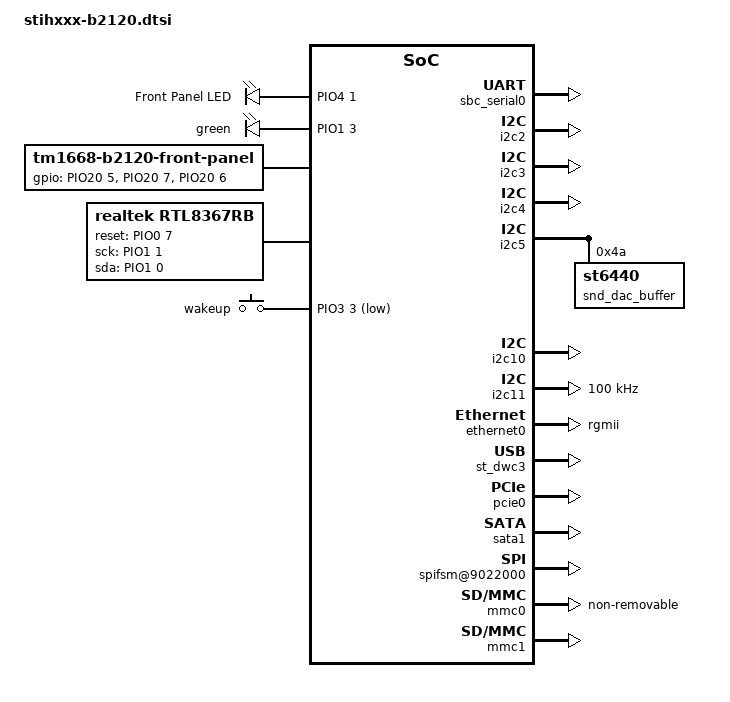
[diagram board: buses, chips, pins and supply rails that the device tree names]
/*
 * Copyright (C) 2014 STMicroelectronics (R&D) Limited.
 * Author: Giuseppe Cavallaro <peppe.cavallaro@st.com>
 *
 * This program is free software; you can redistribute it and/or modify
 * it under the terms of the GNU General Public License version 2 as
 * published by the Free Software Foundation.
 */
/ {
	chosen {
		bootargs = "console=ttyAS0,115200";
		linux,stdout-path = &sbc_serial0;
	};

	aliases {
		ttyAS0 = &sbc_serial0;
		ethernet0 = &ethernet0;
	};

	sound {
		compatible = "st,snd-soc-sti";
		status = "okay";
		st,card-name = "sti audio card";

		st,asoc-platform = <&sti_asoc_platform>;
		st,backend-name  = "HDMI_out", "PCM_out",
				   "Analog_out", "spdif",
				   "PCM_in", "HDMI_in";
		st,backend-cpu-dai = <&snd_uni_player0 &snd_uni_player1
				      &snd_uni_player2 &snd_uni_player3
				      &snd_uni_reader0 &snd_uni_reader1 >;
		st,backend-codec = <&sti_sasg_codec &sti_sasg_codec
				    &sti_sasg_codec &sti_sasg_codec
				    &sti_sasg_codec &sti_sasg_codec>;
		st,backend-codec-dai = "sas-dai-dummy", "sas-dai-dummy",
				       "sas-dai-dac", "sas-dai-spdif-out",
				       "sas-dai-dummy","sas-dai-dummy";
	};

	soc {
		sbc_serial0: serial@9530000 {
			status = "okay";
		};

		leds {
			compatible = "gpio-leds";
			red {
				#gpio-cells = <2>;
				label = "Front Panel LED";
				gpios = <&PIO4 1 0>;
				linux,default-trigger = "heartbeat";
			};
			green {
				#gpio-cells = <2>;
				gpios = <&PIO1 3 0>;
				default-state = "off";
			};
		};

		front-panel {
			compatible = "tm1668-b2120-front-panel";
			gpios = <&PIO20 5 0>, /* dio */
				<&PIO20 7 0>, /* sclk */
				<&PIO20 6 0>; /* stb */
		};

		rc: rc@09518000 {
			status = "okay";
		};

		/* NIM-A */
		i2c2: i2c@9842000 {
			status = "okay";
		};

		/* NIM-B */
		i2c3: i2c@9843000 {
			status = "okay";
		};

		/* SSC4 to PCIe connector */
		i2c4: i2c@9844000 {
			status = "okay";
		};

		/* SSC5 to STV6440,  PCIe connector, I2C Eeprom */
		i2c5: i2c@9845000 {
			status = "okay";
			#address-cells = <1>;
			#size-cells = <0>;

			snd_dac_buffer@4a {
				compatible = "st6440";
				reg = <0x4a>;
				st,source-bus-id = <&snd_uni_player2>;
				st,buffer-gain = <2>;
			};
		};

		/* SSC10 to STV0368 */
		i2c10: i2c@9540000 {
			status = "okay";
		};

		/* SSC11 to HDMI */
		i2c11: i2c@9541000 {
			status = "okay";
			/* HDMI V1.3a supports Standard mode only */
			clock-frequency = <100000>;
			st,i2c-min-scl-pulse-width-us = <0>;
			st,i2c-min-sda-pulse-width-us = <1>;
		};

		lpm:stm-lpm@9400000 {
			status = "okay";
			gpios = <&PIO3 2 0>;
			st,lmi-ret-gpio = <&PIO5 2 0>;

			st_wakeup_pin.ext_it {
				compatible = "st,wakeup-pins";
				status = "disabled";
				pinctrl-names = "default";
				pinctrl-0 = <&pinctrl_wk_pin>;
				wkpin@0 {
					interrupts = <GIC_SPI 184 IRQ_TYPE_EDGE_RISING>;
					label = "ext_it_wakeup";
					st,pio_use = <EXT_IT_WAKEUP_MODE>;
					st,ext_it_num = <2>;
				};
			};

			st_wakeup_pin.pio {
				compatible = "st,wakeup-pins";
				status = "disabled";
				wkpin@0 {
					label = "pio_wakeup";
					gpios = <&PIO3 3 0>;
					st,pio_use = <PIO_WAKEUP_MODE>;
					st,pio_dir = <GPIO_AS_INPUT>;
					st,int_enabled;
				};
			};

			st_wakeup_pin.pio_polling {
				compatible = "st,wakeup-pins";
				status = "disabled";
				wkpin@0 {
					label = "pio_polling_wakeup";
					gpios = <&PIO3 3 0>;
					st,pio_use = <PIO_WAKEUP_MODE>;
					st,pio_dir = <GPIO_AS_INPUT>;
					st,pio_level = <GPIO_ACTIVE_LOW>;
				};
			};

		};

		ethernet0: dwmac@9630000 {
			st,tx-retime-src = "clkgen";
			status = "okay";
			phy-mode = "rgmii";
			fixed-link = <1 1000 0 0>;
			snps,phy-addr = <0x1>;
		};

		realtek: rtl8367rb {
			compatible = "realtek,rtl8367rb";
			status = "okay";

			gpio-reset = <&PIO0 7 0>;
			gpio-sck = <&PIO1 1 0>;
			gpio-sda = <&PIO1 0 0>;

			rtl8367rb,extif1;
			rtl8367rb,extif1-mode = <1>;	// RGMII
			rtl8367rb,extif1-txdelay = <0>;
			rtl8367rb,extif1-rxdelay = <1>;
			rtl8367rb,extif1-force_mode = <1>;
			rtl8367rb,extif1-txpause = <2>;
			rtl8367rb,extif1-rxpause = <2>;
			rtl8367rb,extif1-link = <1>;
			rtl8367rb,extif1-duplex = <1>;
			rtl8367rb,extif1-speed = <2>; // Giga speed

			rtl8367rb,extif2;
			rtl8367rb,extif2-mode = <1>;	// RGMII
			rtl8367rb,extif2-txdelay = <1>;
			rtl8367rb,extif2-rxdelay = <1>;
			rtl8367rb,extif2-force_mode = <1>;
			rtl8367rb,extif2-txpause = <1>;
			rtl8367rb,extif2-rxpause = <1>;
			rtl8367rb,extif2-link = <1>;
			rtl8367rb,extif2-duplex = <1>;
			rtl8367rb,extif2-speed = <2>; // Giga speed
		};

		st_dwc3: dwc3@8f94000 {
			status = "okay";
		};

                miphy28lp_phy0: miphy28lp@0 {
                        status = "okay";
                };

		miphy28lp_phy1: miphy28lp@1 {
			/* SATA via B2136 MiniPCIe to eSATA/SATA board */
			st,sata_gen	= "gen3";
			status = "okay";
		};

		pcie0: pcie@9b00000 {
			status = "okay";
		};

		sata1: sata@9b28000 {
			status = "okay";
		};

		/* Uniperipheral */
		snd_uni_player0: snd-uni-player@0 {
			status = "okay";
		};

		snd_uni_player1: snd-uni-player@1 {
			status = "okay";
		};

		snd_uni_player2: snd-uni-player@2 {
			status = "okay";
		};

		snd_uni_player3: snd-uni-player@3 {
			status = "okay";
		};

		snd_uni_reader0: snd-uni-reader@0 {
			status = "okay";
		};

		snd_uni_reader1: snd-uni-reader@1 {
			status = "okay";
		};

		gpio_keys {
			status = "okay";
			compatible = "gpio-keys";
			#address-cells = <1>;
			#size-cells = <0>;
			button@1 {
				label = "wakeup";
				linux,code = <41>;
				gpios = <&PIO3 3 1>;
				gpio-key,wakeup;
			};
		};

		spifsm@9022000 {
			status = "okay";
			flash-name = "n25q256";
			partitions = <&b2120_fsm_partitions>;

			b2120_fsm_partitions: partitions-b2120 {
				#address-cells = <1>;
				#size-cells = <1>;
				partition@0 {
					label = "boot";
					/* 20M */
					reg = <0x00000000 0x01400000>;
				};
				partition@1400000 {
					label = "rest";
					/* 12M */
					reg = <0x01400000 0x00c00000>;
				};
			};
		};

		mmc0: sdhci@09060000 {
			non-removable;
			status = "okay";
		};
		mmc1: sdhci@09080000 {
			status = "okay";
		};
	};
};
